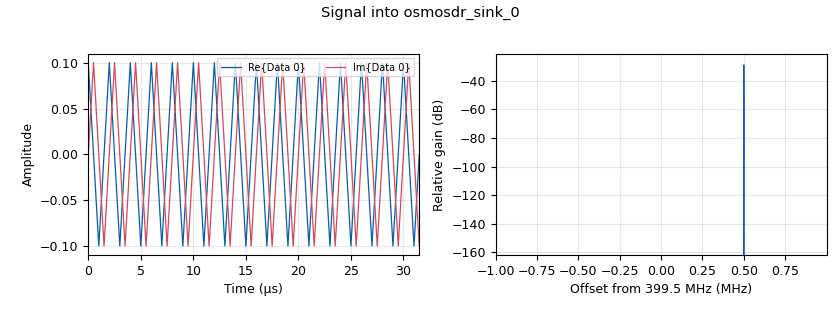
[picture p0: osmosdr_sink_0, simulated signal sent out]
options:
  parameters:
    generate_options: qt_gui
    id: sdr_test_1
    output_language: python
    title: Not titled yet
  states: {}

blocks:
- name: amp
  id: variable_qtgui_range
  parameters:
    start: '0.1'
    step: '0.1'
    stop: '0.7'
    value: '0.1'
    widget: eng_slider
  states: {}
- name: freq
  id: variable
  parameters:
    value: 399.5e6
  states: {}
- name: samp_rate
  id: variable
  parameters:
    value: 2e6
  states: {}
- name: tone_freq
  id: variable_qtgui_range
  parameters:
    start: 100e3
    step: 50e3
    stop: 700e3
    value: 500e3
    widget: eng_slider
  states: {}
- name: tx_gain
  id: variable_qtgui_range
  parameters:
    start: '17'
    step: '1'
    stop: '30'
    value: '17'
    widget: eng_slider
  states: {}
- name: analog_sig_source_x_0
  id: analog_sig_source_x
  parameters:
    amp: amp
    freq: tone_freq
    offset: '0'
    phase: '0'
    samp_rate: samp_rate
    type: complex
    waveform: analog.GR_COS_WAVE
  states: {}
- name: osmosdr_sink_0
  id: osmosdr_sink
  parameters:
    args: bladerf=0
    bb_gain0: '0'
    freq0: freq
    gain0: tx_gain
    if_gain0: '0'
    sample_rate: samp_rate
    sync: sync
    type: fc32
  states: {}

connections:
- [analog_sig_source_x_0, '0', osmosdr_sink_0, '0']

metadata:
  file_format: 1
  grc_version: 3.10.12.0
